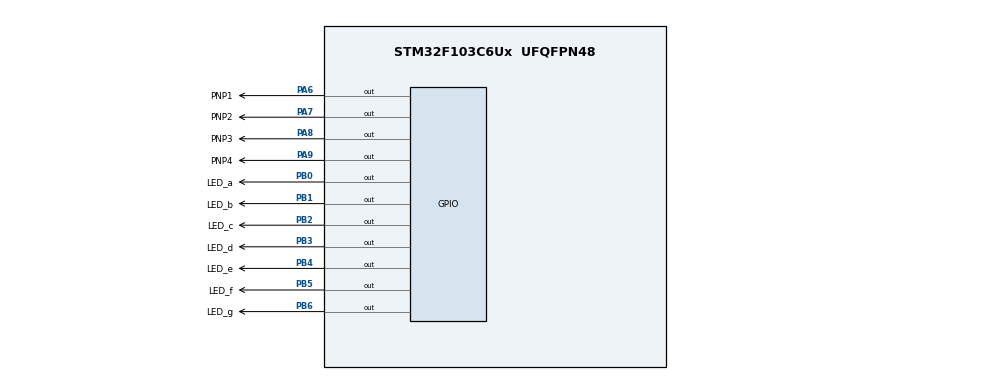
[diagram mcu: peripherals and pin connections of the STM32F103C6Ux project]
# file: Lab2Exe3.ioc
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Mcu.Family=STM32F1
Mcu.Name=STM32F103C6Ux
Mcu.Package=UFQFPN48
NVIC.PriorityGroup=NVIC_PRIORITYGROUP_4
NVIC.TIM2_IRQn=true\:0\:0\:false\:false\:true\:true\:true
PA6.GPIO_Label=PNP1
PA6.Signal=GPIO_Output
PA7.GPIO_Label=PNP2
PA7.Signal=GPIO_Output
PA8.GPIO_Label=PNP3
PA8.Signal=GPIO_Output
PA9.GPIO_Label=PNP4
PA9.Signal=GPIO_Output
PB0.GPIO_Label=LED_a
PB0.Signal=GPIO_Output
PB1.GPIO_Label=LED_b
PB1.Signal=GPIO_Output
PB2.GPIO_Label=LED_c
PB2.Signal=GPIO_Output
PB3.GPIO_Label=LED_d
PB3.Signal=GPIO_Output
PB4.GPIO_Label=LED_e
PB4.Signal=GPIO_Output
PB5.GPIO_Label=LED_f
PB5.Signal=GPIO_Output
PB6.GPIO_Label=LED_g
PB6.Signal=GPIO_Output
ProjectManager.HeapSize=0x200
ProjectManager.StackSize=0x400
ProjectManager.TargetToolchain=STM32CubeIDE
RCC.APB1Freq_Value=8000000
RCC.APB2Freq_Value=8000000
VP_SYS_VS_ND.Mode=No_Debug
VP_TIM2_VS_ClockSourceINT.Mode=Internal
board=custom

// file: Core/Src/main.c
/* USER CODE BEGIN Header */
/**
  ******************************************************************************
  * @file           : main.c
  * @brief          : Main program body
  ******************************************************************************
  * @attention
  *
  * <h2><center>&copy; Copyright (c) 2022 STMicroelectronics.
  * All rights reserved.</center></h2>
  *
  * This software component is licensed by ST under BSD 3-Clause license,
  * the "License"; You may not use this file except in compliance with the
  * License. You may obtain a copy of the License at:
  *                        opensource.org/licenses/BSD-3-Clause
  *
  ******************************************************************************
  */
/* USER CODE END Header */
#include "main.h"

TIM_HandleTypeDef htim2;

void SystemClock_Config(void);
static void MX_GPIO_Init(void);
static void MX_TIM2_Init(void);

int main(void)
{

  /* MCU Configuration--------------------------------------------------------*/

  /* Reset of all peripherals, Initializes the Flash interface and the Systick. */
  HAL_Init();

  /* Configure the system clock */
  SystemClock_Config();

  /* Initialize all configured peripherals */
  MX_GPIO_Init();
  MX_TIM2_Init();
  /* USER CODE BEGIN 2 */
  HAL_TIM_Base_Start_IT(&htim2);
  /* USER CODE END 2 */

  /* Infinite loop */
  while (1)
  {

  }
}

void SystemClock_Config(void)
{
  RCC_OscInitTypeDef RCC_OscInitStruct = {0};
  RCC_ClkInitTypeDef RCC_ClkInitStruct = {0};

  /** Initializes the RCC Oscillators according to the specified parameters
  * in the RCC_OscInitTypeDef structure.
  */
  RCC_OscInitStruct.OscillatorType = RCC_OSCILLATORTYPE_HSI;
  RCC_OscInitStruct.HSIState = RCC_HSI_ON;
  RCC_OscInitStruct.HSICalibrationValue = RCC_HSICALIBRATION_DEFAULT;
  RCC_OscInitStruct.PLL.PLLState = RCC_PLL_NONE;
  if (HAL_RCC_OscConfig(&RCC_OscInitStruct) != HAL_OK)
  {
    Error_Handler();
  }
  /** Initializes the CPU, AHB and APB buses clocks
  */
  RCC_ClkInitStruct.ClockType = RCC_CLOCKTYPE_HCLK|RCC_CLOCKTYPE_SYSCLK
                              |RCC_CLOCKTYPE_PCLK1|RCC_CLOCKTYPE_PCLK2;
  RCC_ClkInitStruct.SYSCLKSource = RCC_SYSCLKSOURCE_HSI;
  RCC_ClkInitStruct.AHBCLKDivider = RCC_SYSCLK_DIV1;
  RCC_ClkInitStruct.APB1CLKDivider = RCC_HCLK_DIV1;
  RCC_ClkInitStruct.APB2CLKDivider = RCC_HCLK_DIV1;

  if (HAL_RCC_ClockConfig(&RCC_ClkInitStruct, FLASH_LATENCY_0) != HAL_OK)
  {
    Error_Handler();
  }
}

static void MX_TIM2_Init(void)
{

  TIM_ClockConfigTypeDef sClockSourceConfig = {0};
  TIM_MasterConfigTypeDef sMasterConfig = {0};

  htim2.Instance = TIM2;
  htim2.Init.Prescaler = 0;
  htim2.Init.CounterMode = TIM_COUNTERMODE_UP;
  htim2.Init.Period = 65535;
  htim2.Init.ClockDivision = TIM_CLOCKDIVISION_DIV1;
  htim2.Init.AutoReloadPreload = TIM_AUTORELOAD_PRELOAD_DISABLE;
  if (HAL_TIM_Base_Init(&htim2) != HAL_OK)
  {
    Error_Handler();
  }
  sClockSourceConfig.ClockSource = TIM_CLOCKSOURCE_INTERNAL;
  if (HAL_TIM_ConfigClockSource(&htim2, &sClockSourceConfig) != HAL_OK)
  {
    Error_Handler();
  }
  sMasterConfig.MasterOutputTrigger = TIM_TRGO_RESET;
  sMasterConfig.MasterSlaveMode = TIM_MASTERSLAVEMODE_DISABLE;
  if (HAL_TIMEx_MasterConfigSynchronization(&htim2, &sMasterConfig) != HAL_OK)
  {
    Error_Handler();
  }

}

static void MX_GPIO_Init(void)
{
  GPIO_InitTypeDef GPIO_InitStruct = {0};

  /* GPIO Ports Clock Enable */
  __HAL_RCC_GPIOA_CLK_ENABLE();
  __HAL_RCC_GPIOB_CLK_ENABLE();

  /*Configure GPIO pin Output Level */
  HAL_GPIO_WritePin(GPIOA, PNP1_Pin|PNP2_Pin|PNP3_Pin|PNP4_Pin, GPIO_PIN_RESET);

  /*Configure GPIO pin Output Level */
  HAL_GPIO_WritePin(GPIOB, LED_a_Pin|LED_b_Pin|LED_c_Pin|LED_d_Pin
                          |LED_e_Pin|LED_f_Pin|LED_g_Pin, GPIO_PIN_RESET);

  /*Configure GPIO pins : PNP1_Pin PNP2_Pin PNP3_Pin PNP4_Pin */
  GPIO_InitStruct.Pin = PNP1_Pin|PNP2_Pin|PNP3_Pin|PNP4_Pin;
  GPIO_InitStruct.Mode = GPIO_MODE_OUTPUT_PP;
  GPIO_InitStruct.Pull = GPIO_NOPULL;
  GPIO_InitStruct.Speed = GPIO_SPEED_FREQ_LOW;
  HAL_GPIO_Init(GPIOA, &GPIO_InitStruct);

  /*Configure GPIO pins : LED_a_Pin LED_b_Pin LED_c_Pin LED_d_Pin
                           LED_e_Pin LED_f_Pin LED_g_Pin */
  GPIO_InitStruct.Pin = LED_a_Pin|LED_b_Pin|LED_c_Pin|LED_d_Pin
                          |LED_e_Pin|LED_f_Pin|LED_g_Pin;
  GPIO_InitStruct.Mode = GPIO_MODE_OUTPUT_PP;
  GPIO_InitStruct.Pull = GPIO_NOPULL;
  GPIO_InitStruct.Speed = GPIO_SPEED_FREQ_LOW;
  HAL_GPIO_Init(GPIOB, &GPIO_InitStruct);

}

/* USER CODE BEGIN 4 */
void Display7Segment (int num) {
	HAL_GPIO_WritePin(LED_a_GPIO_Port, LED_a_Pin, SET);
	HAL_GPIO_WritePin(LED_b_GPIO_Port, LED_b_Pin, SET);
	HAL_GPIO_WritePin(LED_c_GPIO_Port, LED_c_Pin, SET);
	HAL_GPIO_WritePin(LED_d_GPIO_Port, LED_d_Pin, SET);
	HAL_GPIO_WritePin(LED_e_GPIO_Port, LED_e_Pin, SET);
	HAL_GPIO_WritePin(LED_f_GPIO_Port, LED_f_Pin, SET);
	HAL_GPIO_WritePin(LED_g_GPIO_Port, LED_g_Pin, SET);

	switch (num) {
	case 0:
		HAL_GPIO_WritePin(LED_a_GPIO_Port, LED_a_Pin, RESET);
		HAL_GPIO_WritePin(LED_b_GPIO_Port, LED_b_Pin, RESET);
		HAL_GPIO_WritePin(LED_c_GPIO_Port, LED_c_Pin, RESET);
		HAL_GPIO_WritePin(LED_d_GPIO_Port, LED_d_Pin, RESET);
		HAL_GPIO_WritePin(LED_e_GPIO_Port, LED_e_Pin, RESET);
		HAL_GPIO_WritePin(LED_f_GPIO_Port, LED_f_Pin, RESET);
		break;
	case 1:
		HAL_GPIO_WritePin(LED_b_GPIO_Port, LED_b_Pin, RESET);
		HAL_GPIO_WritePin(LED_c_GPIO_Port, LED_c_Pin, RESET);
			break;
	case 2:
		HAL_GPIO_WritePin(LED_a_GPIO_Port, LED_a_Pin, RESET);
		HAL_GPIO_WritePin(LED_b_GPIO_Port, LED_b_Pin, RESET);
		HAL_GPIO_WritePin(LED_d_GPIO_Port, LED_d_Pin, RESET);
		HAL_GPIO_WritePin(LED_e_GPIO_Port, LED_e_Pin, RESET);
		HAL_GPIO_WritePin(LED_g_GPIO_Port, LED_g_Pin, RESET);
			break;
	case 3:
		HAL_GPIO_WritePin(LED_a_GPIO_Port, LED_a_Pin, RESET);
		HAL_GPIO_WritePin(LED_b_GPIO_Port, LED_b_Pin, RESET);
		HAL_GPIO_WritePin(LED_c_GPIO_Port, LED_c_Pin, RESET);
		HAL_GPIO_WritePin(LED_d_GPIO_Port, LED_d_Pin, RESET);
		HAL_GPIO_WritePin(LED_g_GPIO_Port, LED_g_Pin, RESET);
			break;
	case 4:
		HAL_GPIO_WritePin(LED_b_GPIO_Port, LED_b_Pin, RESET);
		HAL_GPIO_WritePin(LED_c_GPIO_Port, LED_c_Pin, RESET);
		HAL_GPIO_WritePin(LED_f_GPIO_Port, LED_f_Pin, RESET);
		HAL_GPIO_WritePin(LED_g_GPIO_Port, LED_g_Pin, RESET);
			break;
	case 5:
		HAL_GPIO_WritePin(LED_a_GPIO_Port, LED_a_Pin, RESET);
		HAL_GPIO_WritePin(LED_c_GPIO_Port, LED_c_Pin, RESET);
		HAL_GPIO_WritePin(LED_d_GPIO_Port, LED_d_Pin, RESET);
		HAL_GPIO_WritePin(LED_f_GPIO_Port, LED_f_Pin, RESET);
		HAL_GPIO_WritePin(LED_g_GPIO_Port, LED_g_Pin, RESET);
			break;
	case 6:
		HAL_GPIO_WritePin(LED_a_GPIO_Port, LED_a_Pin, RESET);
		HAL_GPIO_WritePin(LED_c_GPIO_Port, LED_c_Pin, RESET);
		HAL_GPIO_WritePin(LED_d_GPIO_Port, LED_d_Pin, RESET);
		HAL_GPIO_WritePin(LED_e_GPIO_Port, LED_e_Pin, RESET);
		HAL_GPIO_WritePin(LED_f_GPIO_Port, LED_f_Pin, RESET);
		HAL_GPIO_WritePin(LED_g_GPIO_Port, LED_g_Pin, RESET);
			break;
	case 7:
		HAL_GPIO_WritePin(LED_a_GPIO_Port, LED_a_Pin, RESET);
		HAL_GPIO_WritePin(LED_b_GPIO_Port, LED_b_Pin, RESET);
		HAL_GPIO_WritePin(LED_c_GPIO_Port, LED_c_Pin, RESET);
			break;
	case 8:
		HAL_GPIO_WritePin(LED_a_GPIO_Port, LED_a_Pin, RESET);
		HAL_GPIO_WritePin(LED_b_GPIO_Port, LED_b_Pin, RESET);
		HAL_GPIO_WritePin(LED_c_GPIO_Port, LED_c_Pin, RESET);
		HAL_GPIO_WritePin(LED_d_GPIO_Port, LED_d_Pin, RESET);
		HAL_GPIO_WritePin(LED_e_GPIO_Port, LED_e_Pin, RESET);
		HAL_GPIO_WritePin(LED_f_GPIO_Port, LED_f_Pin, RESET);
		HAL_GPIO_WritePin(LED_g_GPIO_Port, LED_g_Pin, RESET);
			break;
	case 9:
		HAL_GPIO_WritePin(LED_a_GPIO_Port, LED_a_Pin, RESET);
		HAL_GPIO_WritePin(LED_b_GPIO_Port, LED_b_Pin, RESET);
		HAL_GPIO_WritePin(LED_c_GPIO_Port, LED_c_Pin, RESET);
		HAL_GPIO_WritePin(LED_d_GPIO_Port, LED_d_Pin, RESET);
		HAL_GPIO_WritePin(LED_f_GPIO_Port, LED_f_Pin, RESET);
		HAL_GPIO_WritePin(LED_g_GPIO_Port, LED_g_Pin, RESET);
			break;
	default:
		break;
	}
}

int led_buffer[4] = {1, 2, 3, 4};
void update7SEG (int index) {
	switch (index) {
	case 0:
		Display7Segment(led_buffer[0]);
		HAL_GPIO_WritePin(PNP1_GPIO_Port, PNP1_Pin, RESET);
		break;
	case 1:
		Display7Segment(led_buffer[1]);
		HAL_GPIO_WritePin(PNP2_GPIO_Port, PNP2_Pin, RESET);
		break;
	case 2:
		Display7Segment(led_buffer[2]);
		HAL_GPIO_WritePin(PNP3_GPIO_Port, PNP3_Pin, RESET);
		break;
	case 3:
		Display7Segment(led_buffer[3]);
		HAL_GPIO_WritePin(PNP4_GPIO_Port, PNP4_Pin, RESET);
		break;
	}
}

int index_led = 0;
void HAL_TIM_PeriodElapsedCallback(TIM_HandleTypeDef *htim) {
	HAL_GPIO_WritePin(PNP1_GPIO_Port, PNP1_Pin, SET);
	HAL_GPIO_WritePin(PNP2_GPIO_Port, PNP2_Pin, SET);
	HAL_GPIO_WritePin(PNP3_GPIO_Port, PNP3_Pin, SET);
	HAL_GPIO_WritePin(PNP4_GPIO_Port, PNP4_Pin, SET);

	update7SEG(index_led);
	index_led++;
	if (index_led > 3) {
		index_led = 0;
	}
}
/* USER CODE END 4 */

void Error_Handler(void)
{
  __disable_irq();
  while (1)
  {
  }
}

/************************ (C) COPYRIGHT STMicroelectronics *****END OF FILE****/
